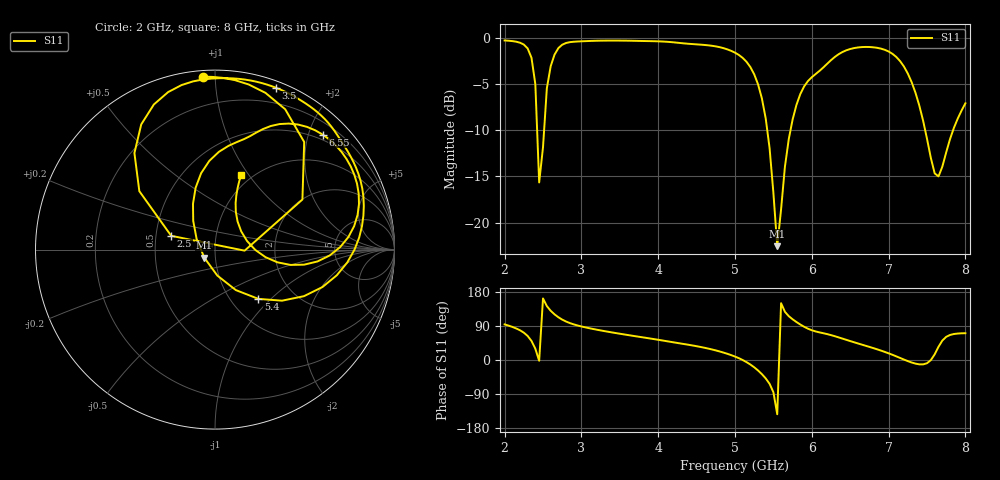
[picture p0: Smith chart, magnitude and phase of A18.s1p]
! Generated by Hertzon (EMerge FEM)
# HZ S RI R 50
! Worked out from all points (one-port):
!   121 points, 2 GHz to 8 GHz, reference 50 ohm
!   lowest |S11| = -22.5 dB at 5.55 GHz (marker M1), VSWR 1.16, Z = 44.2 - j3.99 ohm
!   |S11| at or under -10 dB: 2.423 GHz to 2.514 GHz (90.99 MHz wide, 3.69 % of centre); 5.42 GHz to 5.723 GHz (303 MHz wide, 5.44 % of centre); 7.476 GHz to 7.84 GHz (363.6 MHz wide, 4.75 % of centre)
!   S11 on the Smith chart (normalised r, x): 2 GHz: 0.03, +0.93; 2.5 GHz: 0.60, +0.10; 3.5 GHz: 0.06, +1.44; 5.4 GHz: 1.33, -0.84; 6.55 GHz: 0.40, +2.25; 8 GHz: 0.89, +0.92
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2e9  -0.0653 0.9632
2.25e9  0.281 0.8734
2.35e9  0.4969 0.5996
2.4e9  0.487 0.279
2.45e9  0.165 -0.00586
2.5e9  -0.2441 0.0769
2.55e9  -0.4216 0.3254
2.6e9  -0.449 0.5379
2.75e9  -0.261 0.8777
3e9  0.0245 0.9549
3.5e9  0.34 0.9016
4.25e9  0.6643 0.6632
4.7e9  0.7991 0.4218
5e9  0.819 0.1313
5.2e9  0.6786 -0.1431
5.4e9  0.2416 -0.2745
5.45e9  0.1161 -0.2256
5.55e9  -0.0598 -0.0449
5.65e9  -0.1214 0.1598
5.75e9  -0.1081 0.3444
5.95e9  0.0749 0.5779
6.5e9  0.5581 0.6647
6.55e9  0.6005 0.6405
6.95e9  0.8005 0.313
7.25e9  0.6393 -0.0325
7.45e9  0.3479 -0.0709
7.65e9  0.1459 0.1019
8e9  0.1462 0.417
